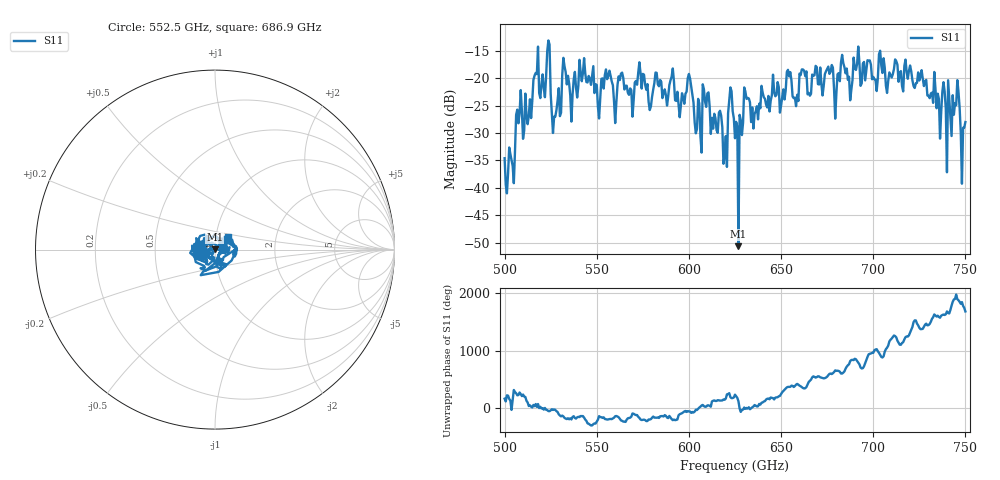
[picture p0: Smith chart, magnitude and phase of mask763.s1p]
!Created with skrf (http://scikit-rf.org).
# GHz S MA R 50.0
!freq magS11 angS11
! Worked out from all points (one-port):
!   401 points, 500 GHz to 750 GHz, reference 50 ohm
!   lowest |S11| = -50.6 dB at 626.9 GHz (marker M1), VSWR 1.01, Z = 49.9 + j0.26 ohm
!   |S11| at or under -10 dB: start of sweep to end of sweep
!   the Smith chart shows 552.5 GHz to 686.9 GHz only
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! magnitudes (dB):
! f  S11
! 500 GHz  -34.6
! 504.4 GHz  -36.0
! 507.5 GHz  -28.2
! 513.8 GHz  -23.9
! 516.9 GHz  -19.0
! 520.6 GHz  -19.3
! 523.8 GHz  -13.1
! 526.9 GHz  -27.0
! 531.2 GHz  -19.5
! 562.5 GHz  -20.3
! 579.4 GHz  -25.2
! 590.6 GHz  -19.7
! 593.8 GHz  -22.5
! 600.6 GHz  -20.1
! 605.6 GHz  -24.6
! 608.8 GHz  -24.3
! 619.4 GHz  -34.2
! 622.5 GHz  -21.7
! 625 GHz  -31.0
! 626.9 GHz  -50.6
! 631.2 GHz  -23.8
! 635 GHz  -29.2
! 656.2 GHz  -23.3
! 683.8 GHz  -17.2
! 687.5 GHz  -24.0
! 690.6 GHz  -18.5
! 718.8 GHz  -20.1
! 750 GHz  -28.0
